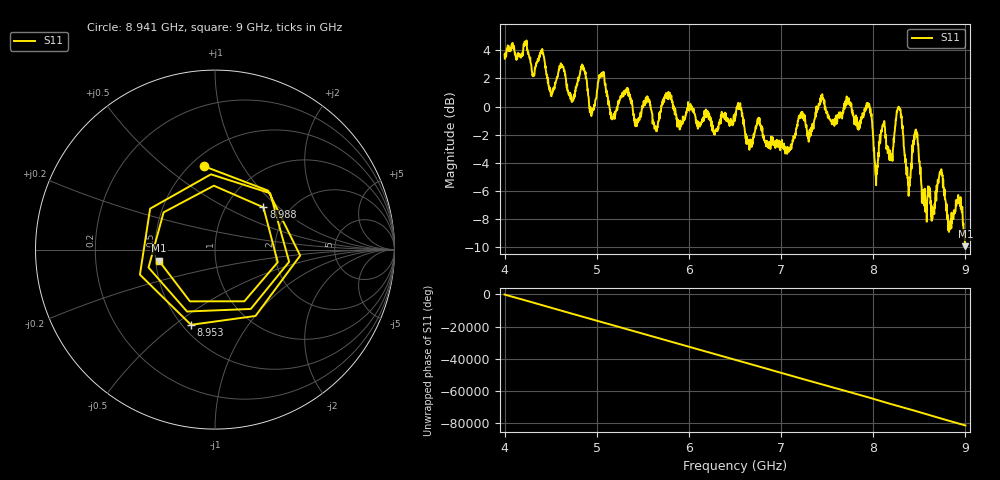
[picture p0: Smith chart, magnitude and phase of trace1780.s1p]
! Created with skrf 1.8.0 (http://scikit-rf.org).
# Hz S RI R 50.0
!freq ReS11 ImS11
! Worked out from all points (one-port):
!   1601 points, 4 GHz to 9 GHz, reference 50 ohm
!   lowest |S11| = -9.9 dB at 9 GHz (marker M1), VSWR 1.93, Z = 26 - j3.62 ohm
!   |S11| at or under -10 dB: nowhere
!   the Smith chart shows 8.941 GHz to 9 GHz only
!   S11 on the Smith chart (normalised r, x): 8.941 GHz: 0.58, +0.69; 8.953 GHz: 0.55, -0.57; 8.988 GHz: 1.48, +0.80; 9 GHz: 0.52, -0.07
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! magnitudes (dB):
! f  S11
! 4 GHz  3.7
! 4.403 GHz  4.1
! 4.509 GHz  0.7
! 4.625 GHz  2.8
! 4.734 GHz  0.3
! 4.853 GHz  2.7
! 4.944 GHz  -0.5
! 5.053 GHz  2.2
! 5.169 GHz  -0.9
! 5.25 GHz  0.5
! 5.875 GHz  -1.4
! 6.5 GHz  -0.6
! 7.125 GHz  -2.4
! 7.75 GHz  0.3
! 7.956 GHz  0.2
! 8.034 GHz  -4.8
! 8.103 GHz  -1.3
! 8.194 GHz  -3.4
! 8.284 GHz  -0.1
! 8.375 GHz  -5.0
! 8.459 GHz  -1.7
! 8.559 GHz  -5.8
! 8.728 GHz  -4.6
! 8.828 GHz  -8.2
! 8.941 GHz  -6.6
! 8.953 GHz  -7.1
! 8.988 GHz  -8.9
! 9 GHz  -9.9
